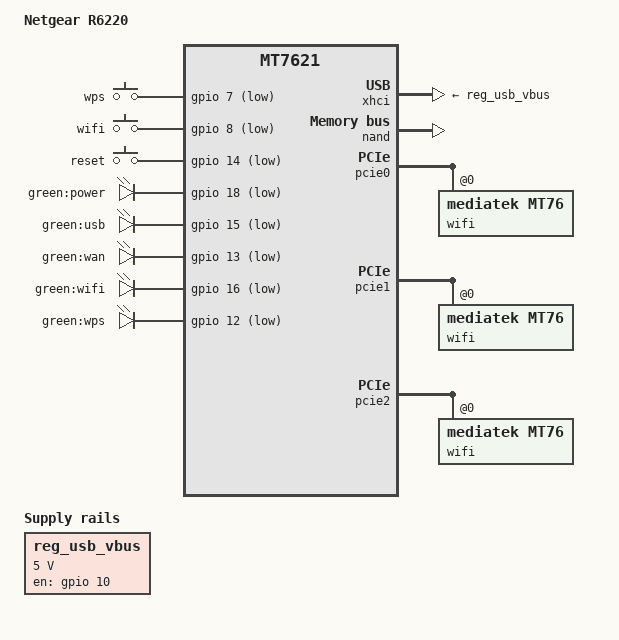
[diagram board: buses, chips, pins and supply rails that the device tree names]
// SPDX-License-Identifier: GPL-2.0-only

#include "mt7621_5.15.dtsi"

#include <dt-bindings/gpio/gpio.h>
#include <dt-bindings/input/input.h>

/ {
    compatible = "netgear,r6220", "mediatek,mt7621-soc";
    model = "Netgear R6220";
    
    aliases {
        led-boot = &led_power;
        led-failsafe = &led_power;
        led-running = &led_power;
        led-upgrade = &led_power;
        label-mac-device = &gmac0;
    };

    keys {
        compatible = "gpio-keys";

        wps {
            label = "wps";
            gpios = <&gpio 7 GPIO_ACTIVE_LOW>;
            linux,code = <KEY_WPS_BUTTON>;
        };

        wifi {
            label = "wifi";
            gpios = <&gpio 8 GPIO_ACTIVE_LOW>;
            linux,code = <KEY_RFKILL>;
        };

        reset {
            label = "reset";
            gpios = <&gpio 14 GPIO_ACTIVE_LOW>;
            linux,code = <KEY_RESTART>;
        };
    };

    leds {
        compatible = "gpio-leds";

        led_power: power {
            label = "green:power";
            gpios = <&gpio 18 GPIO_ACTIVE_LOW>;
        };

        usb {
            label = "green:usb";
            gpios = <&gpio 15 GPIO_ACTIVE_LOW>;
            trigger-sources = <&xhci_ehci_port1>, <&ehci_port2>;
            linux,default-trigger = "usbport";
        };

        internet {
            label = "green:wan";
            gpios = <&gpio 13 GPIO_ACTIVE_LOW>;
        };

        wifi {
            label = "green:wifi";
            gpios = <&gpio 16 GPIO_ACTIVE_LOW>;
            linux,default-trigger = "phy0tpt";
        };

        wps {
            label = "green:wps";
            gpios = <&gpio 12 GPIO_ACTIVE_LOW>;
        };
    };

    reg_usb_vbus: regulator {
        compatible = "regulator-fixed";
        regulator-name = "usb_vbus";
        regulator-min-microvolt = <5000000>;
        regulator-max-microvolt = <5000000>;
        gpio = <&gpio 10 GPIO_ACTIVE_HIGH>;
        enable-active-high;
    };
};

&xhci {
    vbus-supply = <&reg_usb_vbus>;
};

&nand {
    status = "okay";

    partitions {
        compatible = "fixed-partitions";
        #address-cells = <1>;
        #size-cells = <1>;

        partition@0 {
           label = "u-boot";
            reg = <0x0 0x100000>;
            sercomm,scpart-id = <0>;
            read-only;
        };

        partition@100000 {
            label = "SC PID";
            reg = <0x100000 0x100000>;
            sercomm,scpart-id = <1>;
            read-only;
        };

        partition@200000 {
            label = "kernel";
            reg = <0x200000 0x400000>;
            sercomm,scpart-id = <2>;
        };

        partition@600000 {
            label = "ubi";
            reg = <0x600000 0x1c00000>;
            sercomm,scpart-id = <3>;
        };

        partition@2200000 {
            label = "English UI";
            reg = <0x2200000 0x200000>;
            sercomm,scpart-id = <4>;
            read-only;
        };

        partition@2400000 {
            label = "ML1";
            reg = <0x2400000 0x200000>;
            sercomm,scpart-id = <5>;
            read-only;
        };

        partition@2600000 {
            label = "ML2";
            reg = <0x2600000 0x200000>;
            sercomm,scpart-id = <6>;
            read-only;
        };

        partition@2800000 {
            label = "ML3";
            reg = <0x2800000 0x200000>;
            sercomm,scpart-id = <7>;
            read-only;
        };

        partition@2a00000 {
            label = "ML4";
            reg = <0x2a00000 0x200000>;
            sercomm,scpart-id = <8>;
            read-only;
        };

        partition@2c00000 {
            label = "ML5";
            reg = <0x2c00000 0x200000>;
            sercomm,scpart-id = <9>;
            read-only;
        };

        factory: partition@2e00000 {
            label = "factory";
            reg = <0x2e00000 0x100000>;
            sercomm,scpart-id = <10>;
            read-only;
        };

        partition@2f00000 {
            label = "SC Private Data";
            reg = <0x2f00000 0x100000>;
            sercomm,scpart-id = <11>;
            read-only;
        };

        partition@3000000 {
            label = "POT";
            reg = <0x3000000 0x200000>;
            sercomm,scpart-id = <12>;
            read-only;
        };

        partition@3200000 {
            label = "Traffic Meter";
            reg = <0x3200000 0x200000>;
            sercomm,scpart-id = <13>;
            read-only;
        };

        partition@3400000 {
            label = "DPF";
            reg = <0x3400000 0x200000>;
            sercomm,scpart-id = <14>;
            read-only;
        };

        partition@3600000 {
            label = "SC Nvram";
            reg = <0x3600000 0x200000>;
            sercomm,scpart-id = <15>;
            read-only;
        };

        partition@3800000 {
            label = "Ralink Nvram";
            reg = <0x3800000 0x200000>;
            sercomm,scpart-id = <16>;
            read-only;
        };

        partition@3a00000 {
            label = "Ralink Reserved";
            reg = <0x3a00000 0x200000>;
            sercomm,scpart-id = <17>;
            read-only;
        };

        partition@3c00000 {
            label = "ML6";
            reg = <0x3c00000 0x200000>;
            sercomm,scpart-id = <18>;
            read-only;
        };

        partition@3e00000 {
            label = "Upgrade Flag";
            reg = <0x3e00000 0x200000>;
            sercomm,scpart-id = <19>;
            read-only;
        };

        partition@4000000 {
            label = "Reserved Block3";
            reg = <0x4000000 0x200000>;
            sercomm,scpart-id = <20>;
            read-only;
        };

        partition@4200000 {
            label = "Reserved Block4";
            reg = <0x4200000 0x3c00000>;
            sercomm,scpart-id = <21>;
            read-only;
        };
    };
};

&factory {
    nvmem-layout {
        compatible = "fixed-layout";
        #address-cells = <1>;
        #size-cells = <1>;

        eeprom_factory_0: eeprom@0 {
            reg = <0x0 0x512>;
        };
 
        macaddr_factory_4: macaddr@4 {
            compatible = "mac-base";
            reg = <0x4 0x6>;
            #nvmem-cell-cells = <1>;
        };
 
        eeprom_factory_8000: eeprom@8000 {
            reg = <0x8000 0x512>;
        };
    };
};

&pcie0 {
    wifi@0,0 { 
        #address-cells = <3>;
        #size-cells = <2>;
        compatible = "mediatek,mt76";
        reg = <0x0 0 0 0 0>;
        ieee80211-freq-limit = <5000000 6000000>;
        nvmem-cells = <&eeprom_factory_8000>, <&macaddr_factory_4 4>;
        nvmem-cell-names = "eeprom", "mac-address";
    };
};

&pcie1 {
    wifi@0,0 { 
        #address-cells = <3>;
        #size-cells = <2>;
        compatible = "mediatek,mt76";
        reg = <0x0 0 0 0 0>;
        ieee80211-freq-limit = <5000000 6000000>;
        nvmem-cells = <&eeprom_factory_8000>, <&macaddr_factory_4 4>;
        nvmem-cell-names = "eeprom", "mac-address";
    };
};

&pcie2 {
    wifi@0,0 {
        #address-cells = <3>;
        #size-cells = <2>;
        compatible = "mediatek,mt76";
       reg = <0x0 0 0 0 0>;
        ieee80211-freq-limit = <2400000 2500000>;
        nvmem-cells = <&eeprom_factory_0>, <&macaddr_factory_4 3>;
        nvmem-cell-names = "eeprom", "mac-address";
    };
};

&state_default {
    gpio {
        groups = "uart3", "uart2", "jtag";
        function = "gpio";
    };
};

&switch0 {
    ports {
        port@0 {
            status = "okay";
            label = "lan4";
            nvmem-cells = <&macaddr_factory_4 8>;
            nvmem-cell-names = "mac-address";
        };

        port@1 {
            status = "okay";
            label = "lan3";
            nvmem-cells = <&macaddr_factory_4 7>;
            nvmem-cell-names = "mac-address";
        };

        port@2 {
            status = "okay";
            label = "lan2";
            nvmem-cells = <&macaddr_factory_4 6>;
            nvmem-cell-names = "mac-address";
        };

        port@3 {
            status = "okay";
            label = "lan1";
            nvmem-cells = <&macaddr_factory_4 5>;
            nvmem-cell-names = "mac-address";
        };
    };
};
